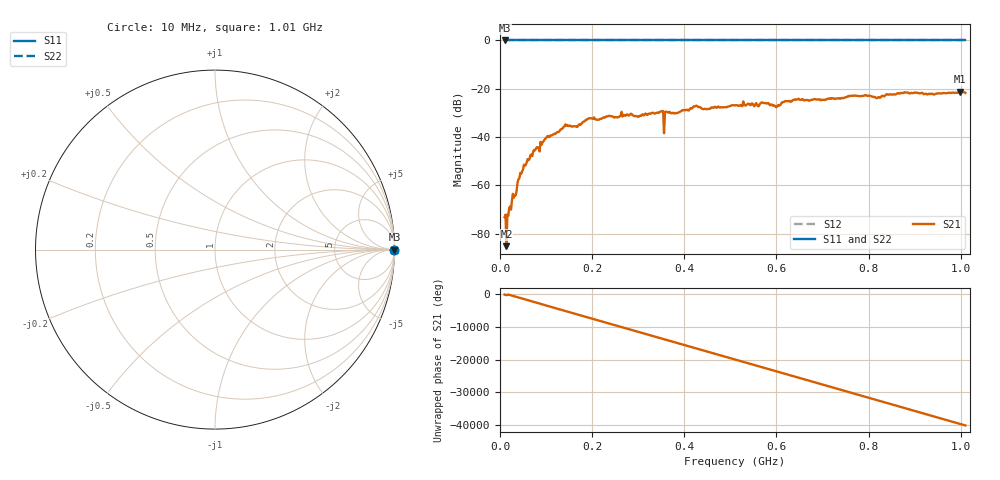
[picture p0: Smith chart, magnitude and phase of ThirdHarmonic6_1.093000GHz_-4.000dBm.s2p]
! 8/16/2025 10:10:57 AM
! C:\ANRITSUVNA\TEMP\TEMP.S2P
! CHANNEL.1
! TR.MEASUREMENT
! RAW.DATA
! RF.CORRECTION.OFF
! AVERAGING.OFF
! IF.BANDWIDTH: 5KHZ
! SWEEPTYPE:  FREQ.SWEEP(Linear)
! Reference Plane Port Info
! PORT:  PORT1  PORT2
! DISTANCE:  0  m  0  m
! TIME:  0  s  0  s
! PHASE.OFFSET:  0  deg.  0  deg.
! LOSS:  0  dB  0  dB
! REF.LOSS:  0  dB  0  dB
! REF.FREQ:  0  Hz  0  Hz
! Power Info
! POWER:  -20  dBm  -20  dBm
! EFF.POWER:  -20  dBm  -20  dBm
! SOURCE.ATTEN:  0  dB  0  dB
! TEST.ATTEN:  0  dB  0  dB
# GHZ S RI R 50.0
! FREQ.GHZ  S11RE  S11IM  S21RE  S21IM  S12RE  S12IM  S22RE  S22IM
!; PortSelection: Port_12
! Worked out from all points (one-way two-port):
!   501 points, 10 MHz to 1.01 GHz, reference 50 ohm
!   highest |S21| = -21.28 dB at 998 MHz (marker M1); lowest = -85.2 dB at 14 MHz (marker M2)
!   lowest |S11| = 0.0 dB at 10 MHz (marker M3)
!   |S11| at or under -10 dB: nowhere
!   |S22| runs from 0.0 to 0.0 dB; largest |S21 - S12| = 1.1
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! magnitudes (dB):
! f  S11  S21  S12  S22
! 10 MHz  0.0  -73.2  0.0  0.0
! 14 MHz  0.0  -85.2  0.0  0.0
! 48 MHz  0.0  -54.3  0.0  0.0
! 76 MHz  0.0  -45.5  0.0  0.0
! 100 MHz  0.0  -40.4  0.0  0.0
! 142 MHz  0.0  -34.8  0.0  0.0
! 178 MHz  0.0  -34.4  0.0  0.0
! 194 MHz  0.0  -32.2  0.0  0.0
! 344 MHz  0.0  -30.0  0.0  0.0
! 360 MHz  0.0  -29.5  0.0  0.0
! 362 MHz  0.0  -29.6  0.0  0.0
! 382 MHz  0.0  -30.1  0.0  0.0
! 424 MHz  0.0  -27.2  0.0  0.0
! 446 MHz  0.0  -28.4  0.0  0.0
! 510 MHz  0.0  -26.9  0.0  0.0
! 572 MHz  0.0  -25.9  0.0  0.0
! 602 MHz  0.0  -27.2  0.0  0.0
! 620 MHz  0.0  -25.1  0.0  0.0
! 678 MHz  0.0  -24.6  0.0  0.0
! 844 MHz  0.0  -22.4  0.0  0.0
! 998 MHz  0.0  -21.3  0.0  0.0
! 1.01 GHz  0.0  -21.7  0.0  0.0
